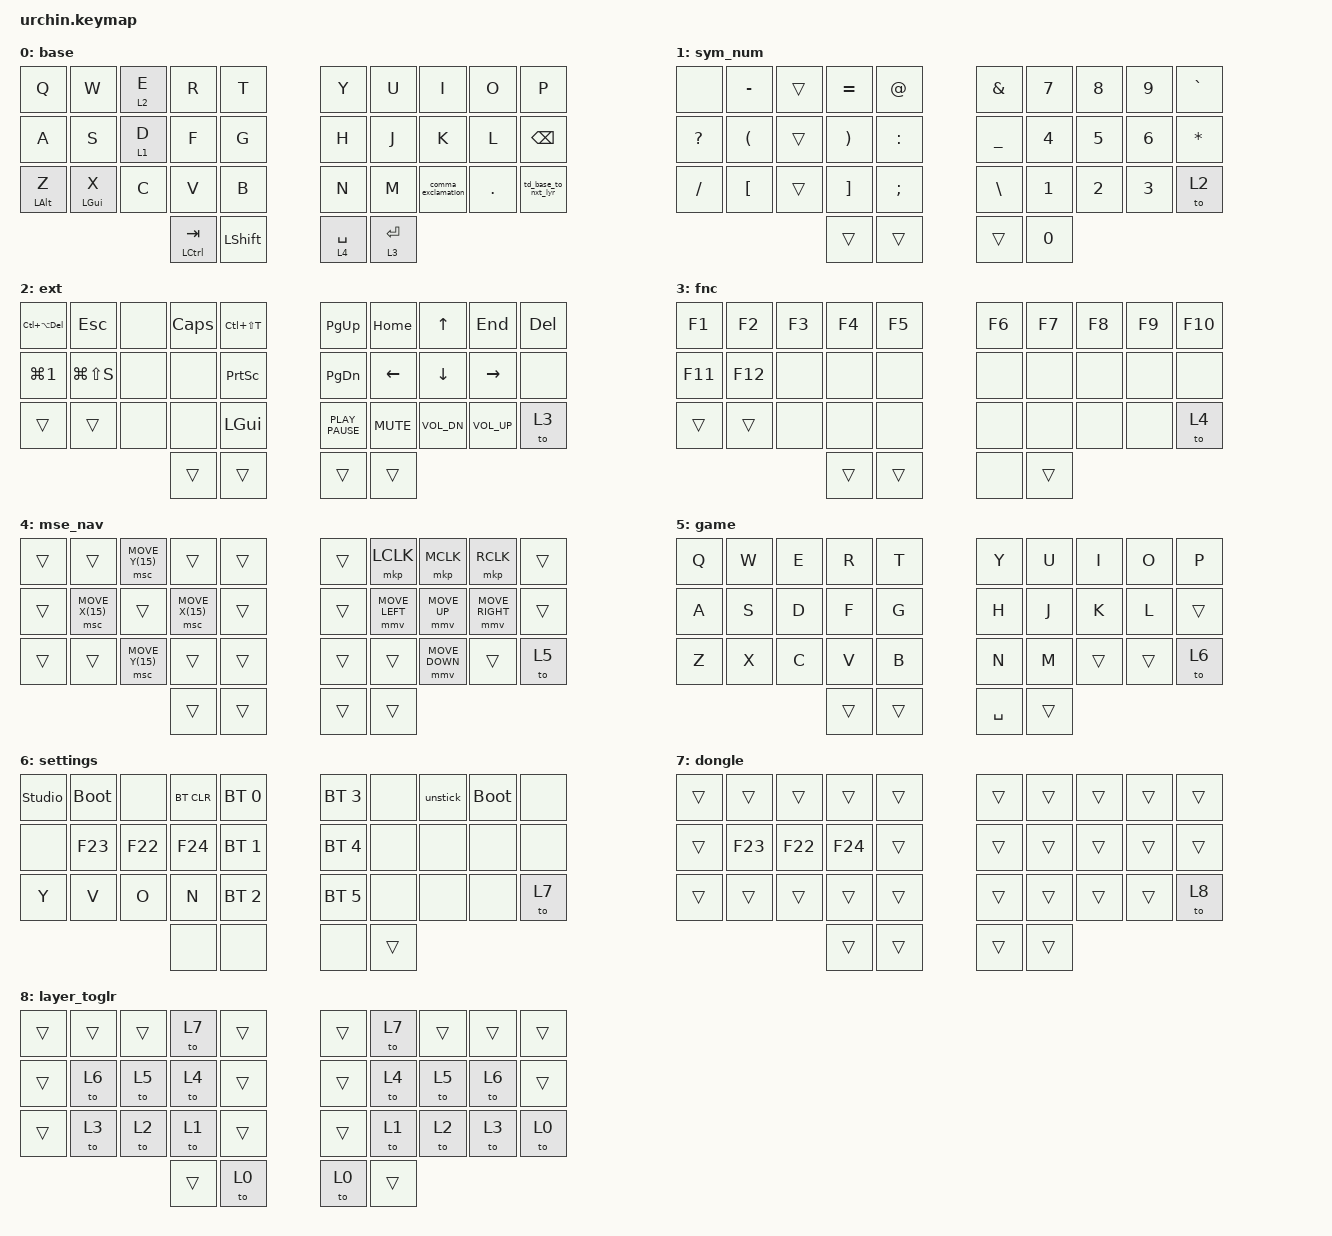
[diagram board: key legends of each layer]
/*
 * Copyright (c) 2020 duckyb
 *
 * SPDX-License-Identifier: MIT
 */

#include <behaviors.dtsi>
#include <dt-bindings/zmk/bt.h>
#include <dt-bindings/zmk/keys.h>
#include <dt-bindings/zmk/outputs.h>
#include <dt-bindings/zmk/pointing.h>

// Layer definitions

#define BASE 0
#define SYM 1
#define EXT 2
#define FNC 3
#define SYM2 4
#define ACCENT 5
#define SETTINGS 6

// -----------------

&sk {
    // don't release mods on other mods presses

    ignore-modifiers;
};

/ {
    behaviors {
        // Enables holding the first mod-tap key
        // by performing a tap-release-hold sequence.
        // To use it: "&qt KEYCODE1 KEYCODE2"

        qt: quick_tap {
            compatible = "zmk,behavior-hold-tap";
            label = "QUICK_TAP";
            #binding-cells = <2>;
            flavor = "hold-preferred";
            tapping-term-ms = <200>;
            quick-tap-ms = <200>;
            bindings = <&kp>, <&kp>;
        };

        td_base_to_nxt_lyr: td_base_to_nxt_lyr {
            compatible = "zmk,behavior-tap-dance";
            label = "TD_BASE_TO_NXT_LYR";
            #binding-cells = <0>;
            bindings = <&kp SQT>, <&kp SQT>, <&to 1>;
        };

        comma_exclamation: comma_exclamation {
            compatible = "zmk,behavior-tap-dance";
            label = "COMMA_EXCLAMATION";
            #binding-cells = <0>;
            bindings = <&kp COMMA>, <&kp EXCLAMATION>;
        };
    };

    macros {
        // sometimes my device thinks a modifier is being held down
        // pressing all modifiers fixes it.

        unstick: unstick {
            label = "ZM_unstick";
            compatible = "zmk,behavior-macro";
            #binding-cells = <0>;
            bindings = <&kp LSHIFT &kp RSHIFT &kp LCTRL &kp RCTRL &kp LALT &kp RALT &kp LGUI &kp RGUI>;
        };
    };

    combos {
        compatible = "zmk,combos";

        // both right thumb keys
        // internal-left & external-right thumb keys
        // both left thumb keys
        // left index & middle fingers (home-row)
        // hold control & space for Adobe workflow

        dongle_bootloader {
            bindings = <&bootloader>;
            key-positions = <10 0>;
            layers = <7>;
        };

        dngl_btclr {
            bindings = <&bt BT_CLR>;
            key-positions = <4 31 5>;
            layers = <7>;
        };

        dngl_out {
            bindings = <&out OUT_TOG>;
            key-positions = <32 5>;
            layers = <7>;
        };

        dngl_btpnxt {
            bindings = <&bt BT_NXT>;
            key-positions = <31 14>;
            layers = <7>;
        };

        to_lyr_tglr_l {
            bindings = <&to 8>;
            key-positions = <10 11 12 13>;
        };

        to_tgl_lyr_r {
            bindings = <&to 8>;
            key-positions = <16 18 19 17>;
        };

        dngl_discBT {
            bindings = <&bt BT_DISC 0>;
            key-positions = <15 5>;
            layers = <7>;
        };

        to_base_r {
            bindings = <&to 0>;
            key-positions = <16 18 19 17 32>;
        };

        to_base_l {
            bindings = <&to 0>;
            key-positions = <10 11 12 13 31>;
        };
    };

    keymap {
        compatible = "zmk,keymap";

        // Base alpha layer

        base_layer {
            display-name = "base";
            label = "base";
            bindings = <
&kp Q           &kp W           &lt 2 E  &kp R          &kp T           &kp Y        &kp U        &kp I               &kp O    &kp P
&kp A           &kp S           &lt 1 D  &kp F          &kp G           &kp H        &kp J        &kp K               &kp L    &kp BACKSPACE
&mt LEFT_ALT Z  &mt LEFT_GUI X  &kp C    &kp V          &kp B           &kp N        &kp M        &comma_exclamation  &kp DOT  &td_base_to_nxt_lyr
                                         &mt LCTRL TAB  &kp LEFT_SHIFT  &lt 4 SPACE  &lt 3 ENTER
            >;
        };

        sym_num_layer {
            display-name = "sym_num";
            label = "sym_num";
            bindings = <
&none         &kp MINUS             &trans  &kp EQUAL              &kp AT         &kp AMPS        &kp N7        &kp N8        &kp N9        &kp GRAVE
&kp QUESTION  &kp LEFT_PARENTHESIS  &trans  &kp RIGHT_PARENTHESIS  &kp COLON      &kp UNDERSCORE  &kp NUMBER_4  &kp N5        &kp NUMBER_6  &kp STAR
&kp SLASH     &kp LEFT_BRACKET      &trans  &kp RIGHT_BRACKET      &kp SEMICOLON  &kp BACKSLASH   &kp NUMBER_1  &kp NUMBER_2  &kp NUMBER_3  &to 2
                                            &trans                 &trans         &trans          &kp N0
            >;
        };

        ext_layer {
            display-name = "ext";
            label = "ext";
            bindings = <
&kp LC(LA(DEL))   &kp ESCAPE     &none  &kp CAPS  &kp LC(LS(T))    &kp PAGE_UP       &kp HOME    &kp UP        &kp END          &kp DEL
&kp LG(NUMBER_1)  &kp LG(LS(S))  &none  &none     &kp PRINTSCREEN  &kp PAGE_DOWN     &kp LEFT    &kp DOWN      &kp RIGHT        &none
&trans            &trans         &none  &none     &kp LEFT_GUI     &kp K_PLAY_PAUSE  &kp C_MUTE  &kp C_VOL_DN  &kp C_VOLUME_UP  &to 3
                                        &trans    &trans           &trans            &trans
            >;
        };

        fnc_layer {
            display-name = "fnc";
            label = "fnc";
            bindings = <
&kp F1   &kp F2   &kp F3  &kp F4  &kp F5  &kp F6  &kp F7  &kp F8  &kp F9  &kp F10
&kp F11  &kp F12  &none   &none   &none   &none   &none   &none   &none   &none
&trans   &trans   &none   &none   &none   &none   &none   &none   &none   &to 4
                          &trans  &trans  &none   &trans
            >;
        };

        mouse_nav_layer {
            display-name = "mse_nav";
            label = "mse_nav";
            bindings = <
&trans  &trans           &msc MOVE_Y(15)  &trans           &trans  &trans  &mkp LCLK       &mkp MCLK       &mkp RCLK        &trans
&trans  &msc MOVE_X(15)  &trans           &msc MOVE_X(15)  &trans  &trans  &mmv MOVE_LEFT  &mmv MOVE_UP    &mmv MOVE_RIGHT  &trans
&trans  &trans           &msc MOVE_Y(15)  &trans           &trans  &trans  &trans          &mmv MOVE_DOWN  &trans           &to 5
                                          &trans           &trans  &trans  &trans
            >;
        };

        game {
            bindings = <
&kp Q  &kp W  &kp E  &kp R   &kp T   &kp Y      &kp U   &kp I   &kp O   &kp P
&kp A  &kp S  &kp D  &kp F   &kp G   &kp H      &kp J   &kp K   &kp L   &trans
&kp Z  &kp X  &kp C  &kp V   &kp B   &kp N      &kp M   &trans  &trans  &to 6
                     &trans  &trans  &kp SPACE  &trans
            >;

            label = "game";
        };

        settings_layer {
            display-name = "settings";
            label = "settings";
            bindings = <
&studio_unlock  &bootloader  &none    &bt BT_CLR  &bt BT_SEL 0  &bt BT_SEL 3  &none   &unstick  &bootloader  &none
&none           &kp F23      &kp F22  &kp F24     &bt BT_SEL 1  &bt BT_SEL 4  &none   &none     &none        &none
&kp Y           &kp V        &kp O    &kp N       &bt BT_SEL 2  &bt BT_SEL 5  &none   &none     &none        &to 7
                                      &none       &none         &none         &trans
            >;
        };

        dongle {
            display-name = "dongle";
            label = "dongle";
            bindings = <
&trans  &trans   &trans   &trans   &trans  &trans  &trans  &trans  &trans  &trans
&trans  &kp F23  &kp F22  &kp F24  &trans  &trans  &trans  &trans  &trans  &trans
&trans  &trans   &trans   &trans   &trans  &trans  &trans  &trans  &trans  &to 8
                          &trans   &trans  &trans  &trans
            >;
        };

        layer_toglr {
            display-name = "layer_toglr";
            label = "layer_toglr";
            bindings = <
&trans  &trans  &trans  &to 7   &trans  &trans  &to 7   &trans  &trans  &trans
&trans  &to 6   &to 5   &to 4   &trans  &trans  &to 4   &to 5   &to 6   &trans
&trans  &to 3   &to 2   &to 1   &trans  &trans  &to 1   &to 2   &to 3   &to 0
                        &trans  &to 0   &to 0   &trans
            >;
        };
    };
};
